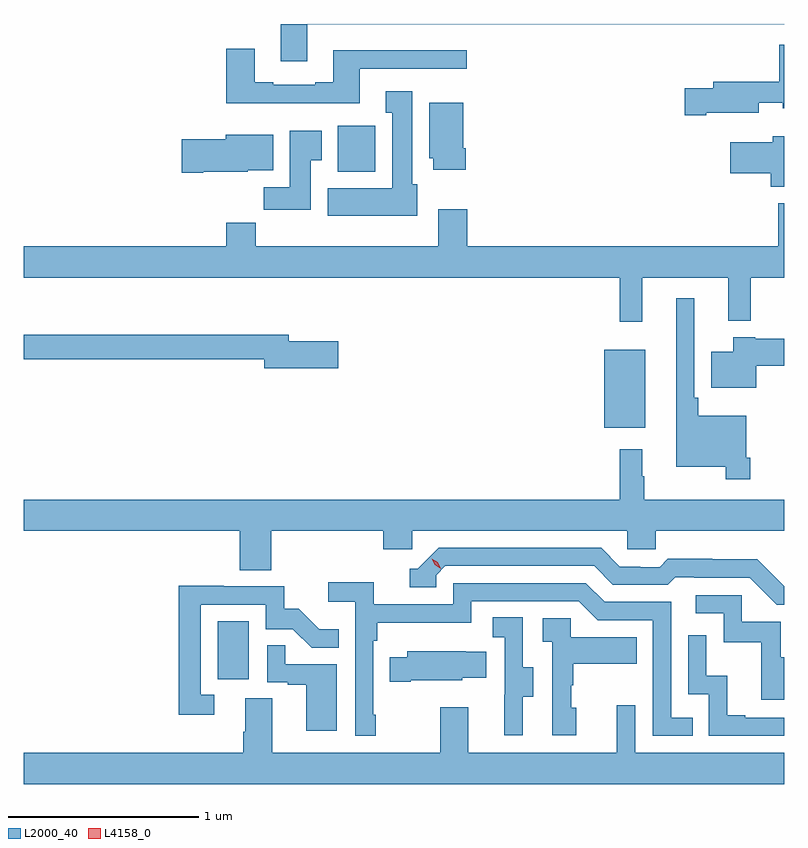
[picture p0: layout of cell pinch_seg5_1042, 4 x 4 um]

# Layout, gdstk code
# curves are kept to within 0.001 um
import gdstk
lib = gdstk.Library(unit=1e-6, precision=1e-09)
def R(c, l, rs):  # rectangles x0, y0, x1, y1
    for r in rs: c.add(gdstk.rectangle(r[:2], r[2:], *l))
def P(c, l, *ps):  # polygons
    for p in ps: c.add(gdstk.Polygon(p, *l))
L2000_40 = (2000, 40)
L4158_0 = (4158, 0)

pinch_seg5_1042 = lib.new_cell('pinch_seg5_1042')
R(pinch_seg5_1042, L2000_40, [(830.876,873.294,831.04,873.601), (832.91,874.619,833.125,875.029), (831.509,875.966,831.706,876.208)])
P(pinch_seg5_1042, L2000_40, [(831.349,876.74),(833.857,876.74),(833.857,876.742),(829.857,876.742),(829.857,876.74),(831.209,876.74),(831.209,876.546),(831.349,876.546)],
  [(833.446,876.275),(833.722,876.275),(833.722,876.329),(833.849,876.329),(833.849,876.299),(833.857,876.299),(833.857,876.634),(833.83,876.634),(833.83,876.439),(833.483,876.439),(833.483,876.405),(833.334,876.405),(833.334,876.263),(833.446,876.263)],
  [(831.625,876.507),(832.186,876.507),(832.186,876.604),(831.485,876.604),(831.485,876.436),(831.389,876.436),(831.389,876.423),(831.169,876.423),(831.169,876.436),(831.073,876.436),(831.073,876.613),(830.921,876.613),(830.921,876.326),(831.625,876.326)],
  [(831.928,875.898),(831.901,875.898),(831.901,876.388),(831.761,876.388),(831.761,876.275),(831.794,876.275),(831.794,875.878),(831.455,875.878),(831.455,875.732),(831.928,875.732)],
  [(832.181,876.088),(832.168,876.088),(832.168,876.328),(831.989,876.328),(831.989,876.036),(832.01,876.036),(832.01,875.976),(832.181,875.976)],
  [(831.367,876.025),(831.424,876.025),(831.424,876.181),(831.257,876.181),(831.257,875.884),(831.118,875.884),(831.118,875.766),(831.367,875.766)],
  [(830.8,875.966),(831.036,875.966),(831.036,875.972),(831.169,875.972),(831.169,876.16),(830.918,876.16),(830.918,876.137),(830.688,876.137),(830.688,875.959),(830.8,875.959)],
  [(833.857,876.151),(833.798,876.151),(833.798,876.121),(833.574,876.121),(833.574,875.956),(833.786,875.956),(833.786,875.885),(833.857,875.885)],
  [(833.111,875.408),(833.564,875.408),(833.564,875.18),(833.681,875.18),(833.681,875.408),(833.857,875.408),(833.857,875.8),(833.827,875.8),(833.827,875.572),(832.19,875.572),(832.19,875.767),(832.037,875.767),(832.037,875.572),(831.077,875.572),(831.077,875.696),(830.921,875.696),(830.921,875.572),(829.857,875.572),(829.857,875.408),(832.993,875.408),(832.993,875.175),(833.111,875.175)],
  [(833.678,874.459),(833.658,874.459),(833.658,874.681),(833.405,874.681),(833.405,874.777),(833.385,874.777),(833.385,875.299),(833.288,875.299),(833.288,874.412),(833.55,874.412),(833.55,874.347),(833.678,874.347)],
  [(831.511,875.073),(831.25,875.073),(831.25,875.107),(829.857,875.107),(829.857,874.978),(831.122,874.978),(831.122,874.931),(831.511,874.931)],
  [(833.71,874.943),(833.857,874.943),(833.857,875.085),(833.706,875.085),(833.706,875.095),(833.588,875.095),(833.588,875.017),(833.474,875.017),(833.474,874.829),(833.71,874.829)],
  [(829.857,874.076),(830.993,874.076),(830.993,873.868),(831.158,873.868),(831.158,874.076),(831.749,874.076),(831.749,873.978),(831.9,873.978),(831.9,874.076),(833.031,874.076),(833.031,873.978),(833.181,873.978),(833.181,874.076),(833.857,874.076),(833.857,874.24),(833.122,874.24),(833.122,874.364),(833.11,874.364),(833.11,874.504),(832.993,874.504),(832.993,874.24),(829.857,874.24)],
  [(833.857,873.783),(833.714,873.925),(833.478,873.925),(833.478,873.928),(833.245,873.928),(833.203,873.885),(833.1,873.885),(833.1,873.888),(832.993,873.888),(832.894,873.987),(832.041,873.987),(831.93,873.876),(831.887,873.876),(831.887,873.78),(832.026,873.78),(832.026,873.843),(832.074,873.891),(832.857,873.891),(832.956,873.792),(833.245,873.792),(833.284,873.831),(833.383,873.831),(833.383,873.828),(833.676,873.828),(833.817,873.687),(833.857,873.687)],
  [(831.709,873.109),(831.696,873.109),(831.696,873.497),(831.716,873.497),(831.716,873.593),(832.212,873.593),(832.212,873.705),(832.776,873.705),(832.875,873.606),(833.166,873.606),(833.166,872.997),(833.375,872.997),(833.375,873.093),(833.262,873.093),(833.262,873.702),(832.912,873.702),(832.813,873.801),(832.116,873.801),(832.116,873.69),(831.698,873.69),(831.698,873.806),(831.459,873.806),(831.459,873.704),(831.6,873.704),(831.6,872.997),(831.709,872.997)],
  [(830.86,873.213),(830.787,873.213),(830.787,873.687),(831.129,873.687),(831.129,873.558),(831.273,873.558),(831.371,873.46),(831.515,873.46),(831.515,873.559),(831.411,873.559),(831.304,873.666),(831.228,873.666),(831.228,873.783),(830.909,873.783),(830.909,873.788),(830.671,873.788),(830.671,873.108),(830.86,873.108)],
  [(833.857,873.411),(833.839,873.411),(833.839,873.597),(833.634,873.597),(833.634,873.738),(833.391,873.738),(833.391,873.642),(833.538,873.642),(833.538,873.489),(833.737,873.489),(833.737,873.186),(833.857,873.186)],
  [(832.483,873.202),(832.537,873.202),(832.537,873.357),(832.482,873.357),(832.482,873.62),(832.323,873.62),(832.323,873.517),(832.386,873.517),(832.386,873.213),(832.385,873.213),(832.385,873),(832.483,873)],
  [(832.762,873.144),(832.737,873.144),(832.737,873.263),(832.747,873.263),(832.747,873.377),(833.081,873.377),(833.081,873.517),(832.734,873.517),(832.734,873.615),(832.587,873.615),(832.587,873.491),(832.638,873.491),(832.638,873),(832.762,873)],
  [(833.857,873.093),(833.653,873.093),(833.653,873.106),(833.558,873.106),(833.558,873.314),(833.448,873.314),(833.448,873.526),(833.352,873.526),(833.352,873.216),(833.46,873.216),(833.46,872.997),(833.857,872.997)],
  [(831.502,873.375),(831.233,873.375),(831.233,873.473),(831.138,873.473),(831.138,873.279),(831.245,873.279),(831.245,873.267),(831.344,873.267),(831.344,873.024),(831.502,873.024)],
  [(831.892,873.29),(832.164,873.29),(832.164,873.302),(832.289,873.302),(832.289,873.439),(832.181,873.439),(832.181,873.442),(831.875,873.442),(831.875,873.412),(831.781,873.412),(831.781,873.283),(831.892,873.283)],
  [(833.857,872.908),(833.073,872.908),(833.073,873.157),(832.976,873.157),(832.976,872.908),(832.195,872.908),(832.195,873.148),(832.048,873.148),(832.048,872.908),(831.163,872.908),(831.163,873.194),(831.023,873.194),(831.023,873.02),(831.011,873.02),(831.011,872.908),(829.857,872.908),(829.857,872.744),(833.857,872.744)])
P(pinch_seg5_1042, L4158_0, [(832.05,873.877),(832.02,873.897),(832.004,873.93),(832.004,873.93),(832.004,873.93),(832.035,873.91),(832.051,873.878),(832.051,873.877)])

lib.write_gds('pinch_seg5_1042.gds')
